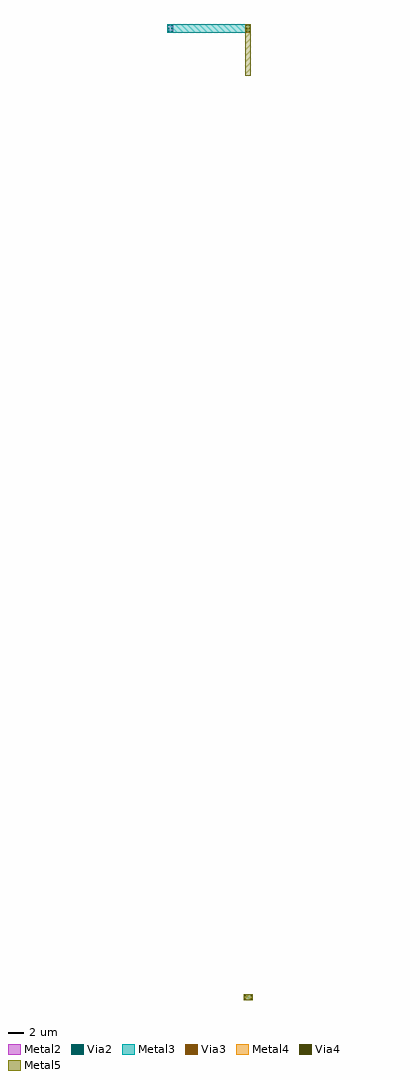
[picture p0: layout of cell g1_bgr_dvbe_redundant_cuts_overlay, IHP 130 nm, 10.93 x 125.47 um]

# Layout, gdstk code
import gdstk
lib = gdstk.Library(unit=1e-6, precision=1e-09)
def R(c, l, rs):  # rectangles x0, y0, x1, y1
    for r in rs: c.add(gdstk.rectangle(r[:2], r[2:], *l))
def A(c, l, x, y, w, h, nx, ny, dx, dy):  # array of equal rectangles
    R(c, l, [(x+i*dx, y+j*dy, x+i*dx+w, y+j*dy+h) for i in range(nx) for j in range(ny)])
Metal2 = (10, 0)
Via2 = (29, 0)
Metal3 = (30, 0)
Via3 = (49, 0)
Metal4 = (50, 0)
Via4 = (66, 0)
Metal5 = (67, 0)

g1_bgr_dvbe_redundant_cu = lib.new_cell('g1_bgr_dvbe_redundant_cuts_overlay')
R(g1_bgr_dvbe_redundant_cu, Metal2, [(192.64,142.43,193.36,143.57)])
A(g1_bgr_dvbe_redundant_cu, Via2, 192.695, 142.485, 0.19, 0.19, 1, 3, 0, 0.42)
A(g1_bgr_dvbe_redundant_cu, Via2, 193.115, 142.485, 0.19, 0.19, 1, 3, 0, 0.42)
R(g1_bgr_dvbe_redundant_cu, Metal3, [(202.43,18.1,203.57,18.82), (192.64,142.43,203.36,143.57)])
A(g1_bgr_dvbe_redundant_cu, Via3, 202.695, 142.485, 0.19, 0.19, 1, 3, 0, 0.42)
A(g1_bgr_dvbe_redundant_cu, Via3, 203.115, 142.485, 0.19, 0.19, 1, 3, 0, 0.42)
R(g1_bgr_dvbe_redundant_cu, Via3, [(202.485,18.155,202.675,18.345), (203.325,18.155,203.515,18.345), (202.485,18.575,202.675,18.765), (203.325,18.575,203.515,18.765)])
R(g1_bgr_dvbe_redundant_cu, Metal4, [(202.43,18.1,203.57,18.82), (202.64,142.43,203.36,143.57)])
A(g1_bgr_dvbe_redundant_cu, Via4, 202.695, 142.485, 0.19, 0.19, 1, 3, 0, 0.42)
A(g1_bgr_dvbe_redundant_cu, Via4, 203.115, 142.485, 0.19, 0.19, 1, 3, 0, 0.42)
R(g1_bgr_dvbe_redundant_cu, Via4, [(202.485,18.155,202.675,18.345), (203.325,18.155,203.515,18.345), (202.485,18.575,202.675,18.765), (203.325,18.575,203.515,18.765)])
R(g1_bgr_dvbe_redundant_cu, Metal5, [(202.43,18.1,203.57,18.82), (202.64,136.9,203.36,143.57)])

lib.write_gds('g1_bgr_dvbe_redundant_cuts_overlay.gds')
